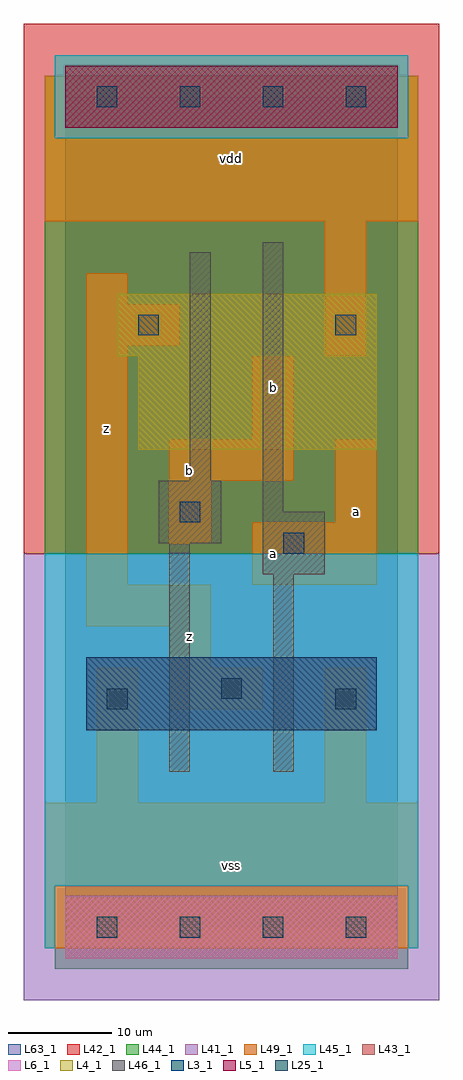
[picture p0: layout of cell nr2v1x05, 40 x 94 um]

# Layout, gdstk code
import gdstk
lib = gdstk.Library(unit=1e-6, precision=1e-09)
def R(c, l, rs):  # rectangles x0, y0, x1, y1
    for r in rs: c.add(gdstk.rectangle(r[:2], r[2:], *l))
def A(c, l, x, y, w, h, nx, ny, dx, dy):  # array of equal rectangles
    R(c, l, [(x+i*dx, y+j*dy, x+i*dx+w, y+j*dy+h) for i in range(nx) for j in range(ny)])
L3_1 = (3, 1)
L4_1 = (4, 1)
L5_1 = (5, 1)
L6_1 = (6, 1)
L25_1 = (25, 1)
L41_1 = (41, 1)
L42_1 = (42, 1)
L43_1 = (43, 1)
L44_1 = (44, 1)
L45_1 = (45, 1)
L46_1 = (46, 1)
L49_1 = (49, 1)
L63_1 = (63, 1)

nr2v1x05 = lib.new_cell('nr2v1x05')
R(nr2v1x05, L3_1, [(2,19,30,26)])
R(nr2v1x05, L4_1, [(7,46,30,55), (5,55,30,61)])
R(nr2v1x05, L5_1, [(0,77,32,83)])
R(nr2v1x05, L6_1, [(0,-3,32,3), (0,-3,32,3)])
A(nr2v1x05, L25_1, 3, -1, 2, 2, 4, 2, 8, 80)
R(nr2v1x05, L25_1, [(4,21,6,23), (26,21,28,23), (15,22,17,24), (21,36,23,38), (11,39,13,41), (7,57,9,59), (26,57,28,59)])
R(nr2v1x05, L41_1, [(-4,-7,36,36)])
R(nr2v1x05, L42_1, [(-4,36,36,87)])
R(nr2v1x05, L43_1, [(0,-3,32,3), (2,19,30,26), (7,46,30,55), (5,55,30,61), (0,77,32,83)])
R(nr2v1x05, L44_1, [(-1,-4,33,4), (-2,36,34,76), (-2,76,-1,82), (33,76,34,82)])
R(nr2v1x05, L45_1, [(-2,-2,-1,4), (33,-2,34,4), (-2,4,34,36), (-1,76,33,84)])
R(nr2v1x05, L46_1, [(10,15,12,37), (20,15,22,34), (19,34,25,40), (9,37,15,43), (19,40,21,66), (12,43,14,65)])
R(nr2v1x05, L49_1, [(-2,-2,34,12), (3,12,7,25), (25,12,29,25), (10,21,19,25), (10,25,14,29), (2,29,14,33), (2,33,6,56), (18,33,30,39), (10,37,14,43), (26,39,30,47), (10,43,22,47), (18,47,22,55), (25,55,29,68), (2,56,11,60), (2,60,6,63), (-2,68,34,82)])
R(nr2v1x05, L63_1, [(0,0,32,80)])
nr2v1x05.add(gdstk.Label('z', (4,48), layer=49, texttype=1))
nr2v1x05.add(gdstk.Label('z', (12,28), layer=49, texttype=1))
nr2v1x05.add(gdstk.Label('b', (12,44), layer=49, texttype=1))
nr2v1x05.add(gdstk.Label('vss', (16,6), layer=49, texttype=1))
nr2v1x05.add(gdstk.Label('a', (20,36), layer=49, texttype=1))
nr2v1x05.add(gdstk.Label('b', (20,52), layer=49, texttype=1))
nr2v1x05.add(gdstk.Label('vdd', (16,74), layer=49, texttype=1))
nr2v1x05.add(gdstk.Label('a', (28,40), layer=49, texttype=1))

lib.write_gds('nr2v1x05.gds')
